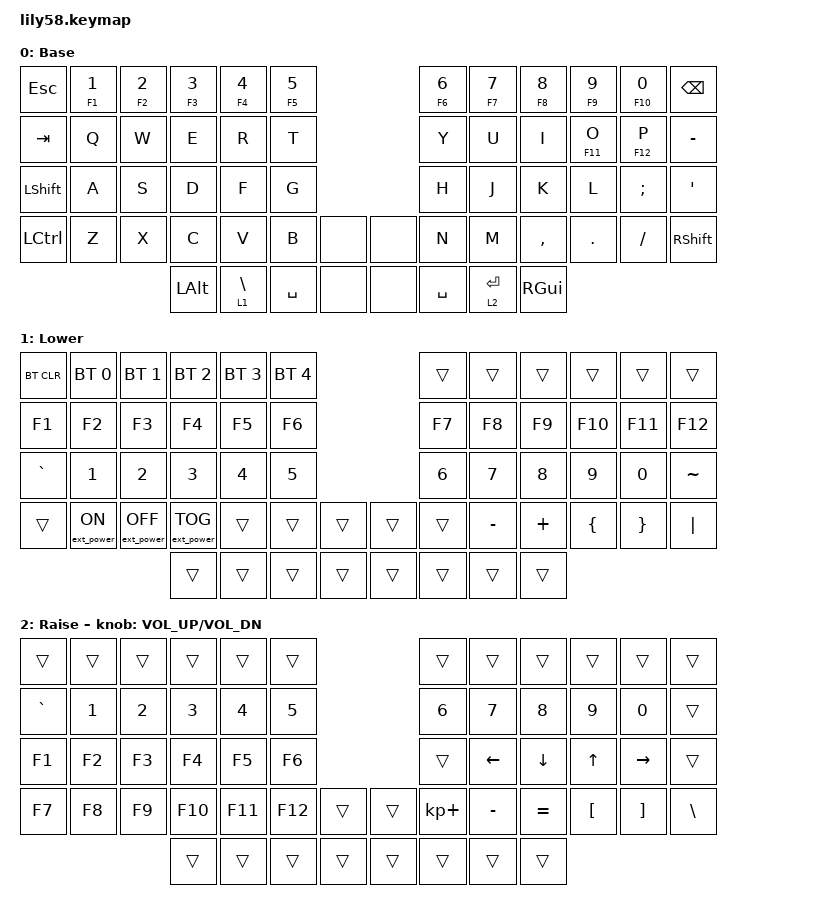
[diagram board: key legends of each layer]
/*
 * Copyright (c) 2020 The ZMK Contributors
 *
 * SPDX-License-Identifier: MIT
 */

#include <behaviors.dtsi>
#include <dt-bindings/zmk/bt.h>
#include <dt-bindings/zmk/ext_power.h>
#include <dt-bindings/zmk/keys.h>

/ {
    combos {
        compatible = "zmk,combos";

        Left_bracket {
            bindings = <&kp LEFT_BRACKET>;
            key-positions = <16 17>;
        };

        Right_bracket {
            bindings = <&kp RIGHT_BRACKET>;
            key-positions = <18 19>;
        };

        Left_parent {
            bindings = <&kp LEFT_PARENTHESIS>;
            key-positions = <28 29>;
        };

        Right_parent {
            bindings = <&kp RIGHT_PARENTHESIS>;
            key-positions = <30 31>;
        };

        Left_brace {
            bindings = <&kp LEFT_BRACE>;
            key-positions = <40 41>;
        };

        Right_brace {
            bindings = <&kp RIGHT_BRACE>;
            key-positions = <44 45>;
        };
    };

    behaviors {
        ss_hs_modmorph: ss_hs_modmorph {
            compatible = "zmk,behavior-mod-morph";
            label = "SS_HS_MODMORPH";
            bindings = <&kp M>, <&kp RIGHT_BRACKET>;

            #binding-cells = <0>;
            mods = <(MOD_LSFT|MOD_RSFT)>;
        };

        kh_hs_tapdance: kh_hs_tapdance {
            compatible = "zmk,behavior-tap-dance";
            label = "KH_HS_TAPDANCE";
            #binding-cells = <0>;
            tapping-term-ms = <200>;
            bindings = <&kp LEFT_BRACKET>, <&kp RIGHT_BRACKET>;
        };

        hrm: hrm {
            compatible = "zmk,behavior-hold-tap";
            #binding-cells = <2>;
            flavor = "tap-preferred";
            tapping-term-ms = <200>;
            quick-tap-ms = <200>;
            require-prior-idle-ms = <125>;
            bindings = <&kp>, <&kp>;
        };
    };

    keymap {
        compatible = "zmk,keymap";

        Base {
            // ------------------------------------------------------------------------------------------------------------
            // |  ESC  |  1  |  2  |  3   |  4   |  5   |                   |  6   |  7    |  8    |  9   |   0   |   `   |
            // |  TAB  |  Q  |  W  |  E   |  R   |  T   |                   |  Y   |  U    |  I    |  O   |   P   |   -   |
            // |  CTRL |  A  |  S  |  D   |  F   |  G   |                   |  H   |  J    |  K    |  L   |   ;   |   '   |
            // | SHIFT |  Z  |  X  |  C   |  V   |  B   |   "["  |  |  "]"  |  N   |  M    |  ,    |  .   |   /   | SHIFT |
            //                     | ALT  | GUI  | LOWER|  SPACE |  | ENTER | RAISE| BSPC  | GUI   |

            bindings = <
&kp ESC           &hrm F1 N1  &hrm F2 N2  &hrm F3 N3  &hrm F4 N4       &hrm F5 N5                  &hrm F6 N6  &hrm F7 N7   &hrm F8 N8  &hrm F9 N9  &hrm F10 N0  &kp BACKSPACE
&kp TAB           &kp Q       &kp W       &kp E       &kp R            &kp T                       &kp Y       &kp U        &kp I       &hrm F11 O  &hrm F12 P   &kp MINUS
&kp LEFT_SHIFT    &kp A       &kp S       &kp D       &kp F            &kp G                       &kp H       &kp J        &kp K       &kp L       &kp SEMI     &kp SQT
&kp LEFT_CONTROL  &kp Z       &kp X       &kp C       &kp V            &kp B       &none    &none  &kp N       &kp M        &kp COMMA   &kp DOT     &kp FSLH     &kp RIGHT_SHIFT
                                          &kp LALT    &lt 1 BACKSLASH  &kp SPACE   &none    &none  &kp SPACE   &lt 2 ENTER  &kp RGUI
            >;
        };

        Lower {
            // ------------------------------------------------------------------------------------------------------------
            // | BTCLR | BT1 | BT2 |  BT3 |  BT4 |  BT5 |                   |      |       |       |      |       |       |
            // |  F1   |  F2 |  F3 |  F4  |  F5  |  F6  |                   |  F7  |  F8   |  F9   |  F10 |  F11  |  F12  |
            // |   `   |  !  |  @  |  #   |  $   |  %   |                   |  ^   |  &    |  *    |  (   |   )   |   ~   |
            // |       |     |     |      |      |      |        |  |       |      |  _    |  +    |  {   |   }   |  "|"  |
            //                     |      |      |      |        |  |       |      |       |       |

            bindings = <
&bt BT_CLR  &bt BT_SEL 0      &bt BT_SEL 1       &bt BT_SEL 2       &bt BT_SEL 3  &bt BT_SEL 4                    &trans  &trans     &trans    &trans    &trans    &trans
&kp F1      &kp F2            &kp F3             &kp F4             &kp F5        &kp F6                          &kp F7  &kp F8     &kp F9    &kp F10   &kp F11   &kp F12
&kp GRAVE   &kp N1            &kp N2             &kp N3             &kp N4        &kp N5                          &kp N6  &kp N7     &kp N8    &kp N9    &kp N0    &kp TILDE
&trans      &ext_power EP_ON  &ext_power EP_OFF  &ext_power EP_TOG  &trans        &trans        &trans    &trans  &trans  &kp MINUS  &kp PLUS  &kp LBRC  &kp RBRC  &kp PIPE
                                                 &trans             &trans        &trans        &trans    &trans  &trans  &trans     &trans
            >;
        };

        Raise {
            // ------------------------------------------------------------------------------------------------------------
            // |       |     |     |      |      |      |                   |      |       |       |      |       |       |
            // |   `   |  1  |  2  |  3   |  4   |  5   |                   |  6   |   7   |   8   |  9   |   0   |       |
            // |   F1  |  F2 |  F3 |  F4  |  F5  |  F6  |                   |      |   <-  |   v   |  ^   |  ->   |       |
            // |   F7  |  F8 |  F9 |  F10 |  F11 |  F12 |        |  |       |  +   |   -   |   =   |  [   |   ]   |   \   |
            //                     |      |      |      |        |  |       |      |       |       |

            bindings = <
&trans     &trans  &trans  &trans   &trans   &trans                     &trans       &trans     &trans     &trans    &trans     &trans
&kp GRAVE  &kp N1  &kp N2  &kp N3   &kp N4   &kp N5                     &kp N6       &kp N7     &kp N8     &kp N9    &kp N0     &trans
&kp F1     &kp F2  &kp F3  &kp F4   &kp F5   &kp F6                     &trans       &kp LEFT   &kp DOWN   &kp UP    &kp RIGHT  &trans
&kp F7     &kp F8  &kp F9  &kp F10  &kp F11  &kp F12  &trans    &trans  &kp KP_PLUS  &kp MINUS  &kp EQUAL  &kp LBKT  &kp RBKT   &kp BSLH
                           &trans   &trans   &trans   &trans    &trans  &trans       &trans     &trans
            >;

            sensor-bindings = <&inc_dec_kp C_VOL_UP C_VOL_DN>;
        };
    };
};
